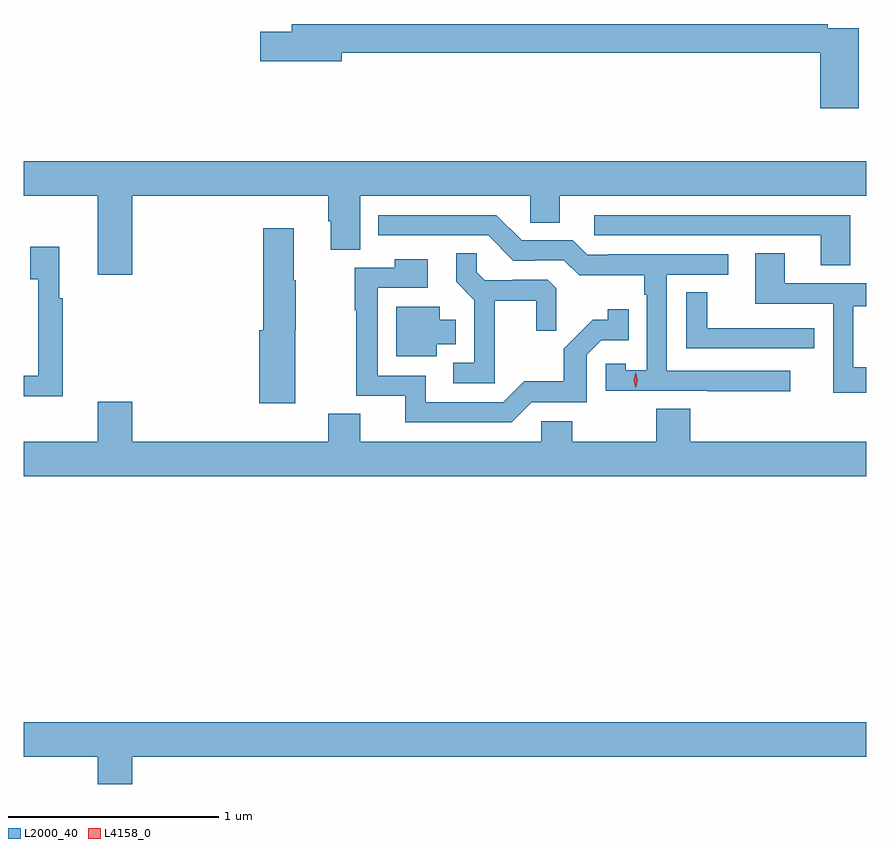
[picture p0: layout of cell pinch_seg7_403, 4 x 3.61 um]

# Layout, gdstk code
import gdstk
lib = gdstk.Library(unit=1e-6, precision=1e-09)
def P(c, l, *ps):  # polygons
    for p in ps: c.add(gdstk.Polygon(p, *l))
L2000_40 = (2000, 40)
L4158_0 = (4158, 0)

pinch_seg7_403 = lib.new_cell('pinch_seg7_403')
P(pinch_seg7_403, L2000_40, [(540.251,1008.072),(540.104,1008.072),(540.104,1008.092),(537.557,1008.092),(537.557,1008.056),(537.408,1008.056),(537.408,1007.914),(537.796,1007.914),(537.796,1007.956),(540.068,1007.956),(540.068,1007.691),(540.251,1007.691)],
  [(536.286,1007.276),(536.636,1007.276),(536.636,1006.902),(536.8,1006.902),(536.8,1007.276),(537.731,1007.276),(537.731,1007.154),(537.743,1007.154),(537.743,1007.02),(537.883,1007.02),(537.883,1007.276),(538.692,1007.276),(538.692,1007.149),(538.831,1007.149),(538.831,1007.276),(540.286,1007.276),(540.286,1007.44),(536.286,1007.44)],
  [(539.926,1006.446),(539.34,1006.446),(539.34,1006.902),(539.632,1006.902),(539.632,1006.998),(539.062,1006.998),(539.062,1006.995),(538.962,1006.995),(538.893,1007.064),(538.65,1007.064),(538.53,1007.184),(537.968,1007.184),(537.968,1007.088),(538.491,1007.088),(538.611,1006.968),(538.712,1006.968),(538.712,1006.971),(538.851,1006.971),(538.924,1006.898),(539.232,1006.898),(539.232,1006.805),(539.244,1006.805),(539.244,1006.447),(539.145,1006.447),(539.145,1006.479),(539.049,1006.479),(539.049,1006.35),(539.533,1006.35),(539.533,1006.348),(539.926,1006.348)],
  [(540.211,1007.184),(538.995,1007.184),(538.995,1007.088),(540.071,1007.088),(540.071,1006.945),(540.211,1006.945)],
  [(537.574,1006.638),(537.576,1006.638),(537.576,1006.874),(537.568,1006.874),(537.568,1007.122),(537.422,1007.122),(537.422,1006.638),(537.404,1006.638),(537.404,1006.29),(537.574,1006.29)],
  [(536.471,1006.79),(536.453,1006.79),(536.453,1007.035),(536.315,1007.035),(536.315,1006.879),(536.355,1006.879),(536.355,1006.422),(536.286,1006.422),(536.286,1006.325),(536.471,1006.325)],
  [(540.286,1006.461),(540.226,1006.461),(540.226,1006.752),(540.286,1006.752),(540.286,1006.86),(539.899,1006.86),(539.899,1007.003),(539.759,1007.003),(539.759,1006.764),(540.129,1006.764),(540.129,1006.341),(540.286,1006.341)],
  [(538.523,1006.778),(538.72,1006.778),(538.72,1006.635),(538.814,1006.635),(538.814,1006.837),(538.773,1006.878),(538.608,1006.878),(538.608,1006.875),(538.474,1006.875),(538.437,1006.912),(538.437,1007.003),(538.339,1007.003),(538.339,1006.867),(538.425,1006.781),(538.425,1006.482),(538.326,1006.482),(538.326,1006.386),(538.523,1006.386)],
  [(538.698,1006.296),(538.959,1006.296),(538.959,1006.521),(539.028,1006.59),(539.159,1006.59),(539.159,1006.738),(539.058,1006.738),(539.058,1006.688),(538.988,1006.688),(538.851,1006.55),(538.851,1006.395),(538.662,1006.395),(538.563,1006.296),(538.195,1006.296),(538.195,1006.422),(537.966,1006.422),(537.966,1006.839),(538.204,1006.839),(538.204,1006.975),(538.048,1006.975),(538.048,1006.935),(537.858,1006.935),(537.858,1006.732),(537.865,1006.732),(537.865,1006.326),(538.097,1006.326),(538.097,1006.2),(538.602,1006.2)],
  [(540.04,1006.646),(539.927,1006.646),(539.927,1006.647),(539.532,1006.647),(539.532,1006.817),(539.433,1006.817),(539.433,1006.551),(540.04,1006.551)],
  [(538.246,1006.571),(538.336,1006.571),(538.336,1006.687),(538.261,1006.687),(538.261,1006.75),(538.055,1006.75),(538.055,1006.514),(538.246,1006.514)],
  [(536.636,1006.297),(536.636,1006.108),(536.286,1006.108),(536.286,1005.944),(540.286,1005.944),(540.286,1006.108),(539.45,1006.108),(539.45,1006.265),(539.29,1006.265),(539.29,1006.108),(538.89,1006.108),(538.89,1006.206),(538.743,1006.206),(538.743,1006.108),(537.883,1006.108),(537.883,1006.241),(537.731,1006.241),(537.731,1006.108),(536.8,1006.108),(536.8,1006.297)],
  [(536.8,1004.612),(540.286,1004.612),(540.286,1004.776),(536.286,1004.776),(536.286,1004.612),(536.636,1004.612),(536.636,1004.482),(536.8,1004.482)])
P(pinch_seg7_403, L4158_0, [(539.191,1006.365),(539.191,1006.365),(539.182,1006.401),(539.192,1006.437),(539.192,1006.437),(539.192,1006.437),(539.202,1006.401),(539.191,1006.365)])

lib.write_gds('pinch_seg7_403.gds')
